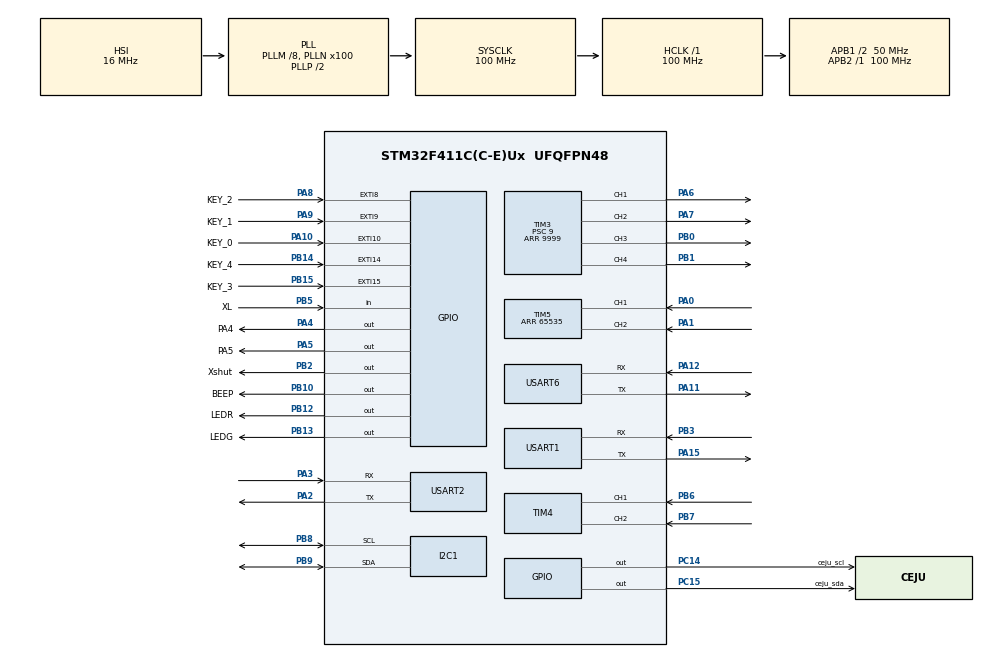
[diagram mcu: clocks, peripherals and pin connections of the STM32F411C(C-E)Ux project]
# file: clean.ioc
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Dma.Request0=USART2_RX
Dma.USART2_RX.0.Direction=DMA_PERIPH_TO_MEMORY
Dma.USART2_RX.0.FIFOMode=DMA_FIFOMODE_DISABLE
Dma.USART2_RX.0.Instance=DMA1_Stream5
Dma.USART2_RX.0.MemDataAlignment=DMA_MDATAALIGN_BYTE
Dma.USART2_RX.0.MemInc=DMA_MINC_ENABLE
Dma.USART2_RX.0.Mode=DMA_NORMAL
Dma.USART2_RX.0.PeriphDataAlignment=DMA_PDATAALIGN_BYTE
Dma.USART2_RX.0.PeriphInc=DMA_PINC_DISABLE
Dma.USART2_RX.0.Priority=DMA_PRIORITY_LOW
Mcu.Family=STM32F4
Mcu.Name=STM32F411C(C-E)Ux
Mcu.Package=UFQFPN48
NVIC.DMA1_Stream5_IRQn=true\:0\:0\:false\:false\:true\:false\:true\:true
NVIC.EXTI15_10_IRQn=true\:1\:0\:true\:false\:true\:true\:true\:true
NVIC.EXTI9_5_IRQn=true\:1\:0\:true\:false\:true\:true\:true\:true
NVIC.PriorityGroup=NVIC_PRIORITYGROUP_4
NVIC.TIM1_BRK_TIM9_IRQn=true\:0\:0\:false\:false\:true\:true\:true\:true
NVIC.TIM2_IRQn=true\:0\:0\:false\:false\:true\:true\:true\:true
NVIC.USART1_IRQn=true\:0\:0\:false\:false\:true\:true\:true\:true
NVIC.USART2_IRQn=true\:0\:0\:false\:false\:true\:true\:true\:true
NVIC.USART6_IRQn=true\:0\:0\:false\:false\:true\:true\:true\:true
PA0-WKUP.Signal=S_TIM5_CH1
PA1.Signal=S_TIM5_CH2
PA10.GPIO_Label=KEY_0
PA10.GPIO_PuPd=GPIO_PULLDOWN
PA10.Signal=GPXTI10
PA11.Mode=Asynchronous
PA11.Signal=USART6_TX
PA12.Mode=Asynchronous
PA12.Signal=USART6_RX
PA13.Mode=Serial_Wire
PA13.Signal=SYS_JTMS-SWDIO
PA14.Mode=Serial_Wire
PA14.Signal=SYS_JTCK-SWCLK
PA15.Mode=Asynchronous
PA15.Signal=USART1_TX
PA2.Mode=Asynchronous
PA2.Signal=USART2_TX
PA3.Mode=Asynchronous
PA3.Signal=USART2_RX
PA4.GPIO_Label=PA4
PA4.Signal=GPIO_Output
PA5.GPIO_Label=PA5
PA5.Signal=GPIO_Output
PA6.Signal=S_TIM3_CH1
PA7.Signal=S_TIM3_CH2
PA8.GPIO_Label=KEY_2
PA8.GPIO_PuPd=GPIO_PULLDOWN
PA8.Signal=GPXTI8
PA9.GPIO_Label=KEY_1
PA9.GPIO_PuPd=GPIO_PULLDOWN
PA9.Signal=GPXTI9
PB0.Signal=S_TIM3_CH3
PB1.Signal=S_TIM3_CH4
PB10.GPIO_Label=BEEP
PB10.Signal=GPIO_Output
PB12.GPIO_Label=LEDR
PB12.GPIO_PuPd=GPIO_PULLUP
PB12.Signal=GPIO_Output
PB13.GPIO_Label=LEDG
PB13.GPIO_PuPd=GPIO_PULLUP
PB13.Signal=GPIO_Output
PB14.GPIO_Label=KEY_4
PB14.GPIO_PuPd=GPIO_PULLDOWN
PB14.Signal=GPXTI14
PB15.GPIO_Label=KEY_3
PB15.GPIO_PuPd=GPIO_PULLDOWN
PB15.Signal=GPXTI15
PB2.GPIO_Label=Xshut
PB2.GPIO_PuPd=GPIO_PULLUP
PB2.Signal=GPIO_Output
PB3.Mode=Asynchronous
PB3.Signal=USART1_RX
PB5.GPIO_Label=XL
PB5.GPIO_PuPd=GPIO_PULLDOWN
PB5.Signal=GPIO_Input
PB6.Signal=S_TIM4_CH1
PB7.Signal=S_TIM4_CH2
PB8.Mode=I2C
PB8.Signal=I2C1_SCL
PB9.Mode=I2C
PB9.Signal=I2C1_SDA
PC14-OSC32_IN.GPIO_Label=ceju_scl
PC14-OSC32_IN.Signal=GPIO_Output
PC15-OSC32_OUT.GPIO_Label=ceju_sda
PC15-OSC32_OUT.Signal=GPIO_Output
PH0\ -\ OSC_IN.Mode=HSE-External-Oscillator
PH0\ -\ OSC_IN.Signal=RCC_OSC_IN
PH1\ -\ OSC_OUT.Mode=HSE-External-Oscillator
PH1\ -\ OSC_OUT.Signal=RCC_OSC_OUT
ProjectManager.HeapSize=0x200
ProjectManager.StackSize=0x400
ProjectManager.TargetToolchain=MDK-ARM V5.32
RCC.48MHZClocksFreq_Value=50000000
RCC.AHBFreq_Value=100000000
RCC.APB1CLKDivider=RCC_HCLK_DIV2
RCC.APB1Freq_Value=50000000
RCC.APB1TimFreq_Value=100000000
RCC.APB2Freq_Value=100000000
RCC.APB2TimFreq_Value=100000000
RCC.CortexFreq_Value=100000000
RCC.HCLKFreq_Value=100000000
RCC.HSE_VALUE=25000000
RCC.HSI_VALUE=16000000
RCC.LSE_VALUE=32768
RCC.PLLM=8
RCC.PLLN=100
RCC.SYSCLKFreq_VALUE=100000000
RCC.SYSCLKSource=RCC_SYSCLKSOURCE_PLLCLK
RCC.VCOOutputFreq_Value=200000000
SH.S_TIM3_CH1.0=TIM3_CH1,PWM Generation1 CH1
SH.S_TIM3_CH2.0=TIM3_CH2,PWM Generation2 CH2
SH.S_TIM3_CH3.0=TIM3_CH3,PWM Generation3 CH3
SH.S_TIM3_CH4.0=TIM3_CH4,PWM Generation4 CH4
SH.S_TIM4_CH1.0=TIM4_CH1,Encoder_Interface
SH.S_TIM4_CH2.0=TIM4_CH2,Encoder_Interface
SH.S_TIM5_CH1.0=TIM5_CH1,Encoder_Interface
SH.S_TIM5_CH2.0=TIM5_CH2,Encoder_Interface
TIM2.Period=9999
TIM2.Prescaler=9
TIM3.AutoReloadPreload=TIM_AUTORELOAD_PRELOAD_ENABLE
TIM3.Channel-PWM\ Generation1\ CH1=TIM_CHANNEL_1
TIM3.Channel-PWM\ Generation2\ CH2=TIM_CHANNEL_2
TIM3.Channel-PWM\ Generation3\ CH3=TIM_CHANNEL_3
TIM3.Channel-PWM\ Generation4\ CH4=TIM_CHANNEL_4
TIM3.Period=9999
TIM3.Prescaler=9
TIM3.Pulse-PWM\ Generation1\ CH1=10000
TIM3.Pulse-PWM\ Generation2\ CH2=0
TIM3.Pulse-PWM\ Generation3\ CH3=10000
TIM3.Pulse-PWM\ Generation4\ CH4=10000
TIM4.EncoderMode=TIM_ENCODERMODE_TI12
TIM5.EncoderMode=TIM_ENCODERMODE_TI12
TIM5.Period=65535
TIM9.Period=9999
TIM9.Prescaler=9
USART1.VirtualMode=VM_ASYNC
USART2.VirtualMode=VM_ASYNC
USART6.VirtualMode=VM_ASYNC
VP_TIM2_VS_ClockSourceINT.Mode=Internal
VP_TIM3_VS_ClockSourceINT.Mode=Internal
VP_TIM9_VS_ClockSourceINT.Mode=Internal
board=custom

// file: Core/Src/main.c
/* USER CODE BEGIN Header */
/**
  ******************************************************************************
  * @file           : main.c
  * @brief          : Main program body
  ******************************************************************************
  * @attention
  *
  * Copyright (c) 2025 STMicroelectronics.
  * All rights reserved.
  *
  * This software is licensed under terms that can be found in the LICENSE file
  * in the root directory of this software component.
  * If no LICENSE file comes with this software, it is provided AS-IS.
  *
  ******************************************************************************
  */
/* USER CODE END Header */
#include "main.h"
#include "dma.h"
#include "i2c.h"
#include "tim.h"
#include "usart.h"
#include "gpio.h"

/* USER CODE BEGIN Includes */
#include "debug.h"
#include "Imu.h"
#include "key.h"
#include "pid.h"
#include "OLED.h"
#include "Buzzer.h"
#include "usart_2.h"
#include "math.h"
#include "app.h"
#include "pwm.h"
#include "GWKJ.h"
#include "encoder.h"
/* USER CODE END Includes */

/* USER CODE BEGIN PTD */
float Kp = 0.7;  // 比例增益
float Kd = 0.8;  // 微分增益
char RxBuffer[200],Rxcouter;
uint8_t Res;
int Usart1_Rx_Flag=0;
int Flag_ly=0;
int stop=0;
char target;

static uint8_t last_state_BZ2 = 1;  // 假设初始状态为高电平
static uint8_t last_state_BZ3 = 1;
static uint8_t last_state_BZ1 = 1;

/* USER CODE END PTD */

void SystemClock_Config(void);

/* USER CODE BEGIN 0 */
void HAL_UART_RxCpltCallback(UART_HandleTypeDef *huart)

{
    if(huart->Instance == USART1)
    {
        UART1_RxCpltCallback(huart);
    }
		else if(huart->Instance == USART6)
		{
			RxBuffer[Rxcouter++] = Res;
			HAL_UART_Receive_IT(&huart6, (uint8_t *)&Res, 1);
			Usart1_Rx_Flag=1;
			if(Res=='1')
			{
				Flag_ly=1;
				stop=0;
			}
			else if(Res=='2')
			{
				Flag_ly=2;
				stop=0;
			}
		}

}
/* USER CODE END 0 */

int main(void)
{

  /* MCU Configuration--------------------------------------------------------*/

  /* Reset of all peripherals, Initializes the Flash interface and the Systick. */
  HAL_Init();

  /* Configure the system clock */
  SystemClock_Config();

  /* Initialize all configured peripherals */
  MX_GPIO_Init();
  MX_DMA_Init();
  MX_USART1_UART_Init();
  MX_USART2_UART_Init();
  MX_USART6_UART_Init();
  MX_TIM3_Init();
  MX_I2C1_Init();
  MX_TIM4_Init();
  MX_TIM5_Init();
  MX_TIM2_Init();
  MX_TIM9_Init();
  /* USER CODE BEGIN 2 */
	HAL_TIM_PWM_Start(&htim3,TIM_CHANNEL_1);
	HAL_TIM_PWM_Start(&htim3,TIM_CHANNEL_2);
	HAL_TIM_PWM_Start(&htim3,TIM_CHANNEL_3);
	HAL_TIM_PWM_Start(&htim3,TIM_CHANNEL_4);
	HAL_TIM_Encoder_Start(&htim4,TIM_CHANNEL_ALL);
	HAL_TIM_Encoder_Start(&htim5,TIM_CHANNEL_ALL);
	USART2_Init();
	__HAL_UART_ENABLE_IT(&huart6,UART_IT_RXNE);
  //开启 USART1 的连续接收中断，并指定接收缓冲区的地址和长度
  HAL_UART_Receive_IT(&huart6,&Res,1);
//	HAL_TIM_Base_Start_IT(&htim2);

//	Debug_Init();	//白色是高电平，为1，黑色是低电平，为2
	extern int Flag;

	extern int IMU_flag;
	extern float Yaw;
	extern float Gyro;
	extern int turn;
	int turn1;
	int turn2;
	extern int startflag;
	float Yaw_Init;
	int stopflag=0;
	int findflag=1;
	uint8_t Uart_RxBuffer;
	float L_raw;
	int crossflag=0;
	extern uint16_t find[10];
	extern uint8_t RxBuffer_2[RXBUFFERSIZE_2];
	extern uint8_t Uart_RxBuffer_2;
	extern float encoder_left;
	extern float encoder_right;
	int sendflag=0;
//	HAL_TIM_Base_Start_IT(&htim3);
	GW_digital_Init();
	OLED_Init();//OLED初始化
//	GW_analog_Init();
	IMU_Init();
	Yaw_Init=Yaw;
	USART2_Init();
	Set_PWM(0,0);
	uint8_t BIT[8]={0,0,0,0,0,0,0,0};

//	HAL_UART_Receive_IT(&huart6,&Res,1);

//	uint8_t Problem_Flag = 0;
//	uint8_t Calibration_Flag;
//	DEBUG_info("Main Init",":over");
  /* USER CODE END 2 */

  /* Infinite loop */
  /* USER CODE BEGIN WHILE */
  while (1)
  {

		OLED_Update();
		OLED_Printf(0, 16, OLED_8X16, "ly:%d",Flag_ly);
		ReadSensors(BIT);
		OLED_Printf(0, 0, OLED_8X16, "gw:%d,%d,%d,%d,%d,%d,%d,%d",BIT[0],BIT[1],BIT[2],BIT[3],BIT[4],BIT[5],BIT[6],BIT[7]);
		OLED_Update();
		int offset = CalculateOffset(BIT);
		float pid_output = ComputePID(offset);

		HAL_GPIO_WritePin(GPIOB, GPIO_PIN_12, GPIO_PIN_SET);
		HAL_GPIO_WritePin(GPIOB, GPIO_PIN_13, GPIO_PIN_SET);
		if(HAL_GPIO_ReadPin(GPIOB,XL_Pin)==1)
		{
			startflag=1;
			OLED_Printf(0, 32, OLED_8X16, "Medicine ready");
		}
		else
		{
			stopflag=1;
			OLED_Printf(0, 32, OLED_8X16, "NO Medicine");
		}

		while(Flag==1&&startflag==1)//基础1
		{
			OLED_Update();
			for(int i=0;i<2;i++)
			{
				UART1_SendChar('b');
			}
			problem1();

		}
		while(Flag==2&&startflag==1)//基础2
		{
			OLED_Update();
			if(sendflag==0)
			{
				for(int i=0;i<2;i++)
				{
					UART1_SendChar('b');
				}
				sendflag=1;
			}

			problem2();
		}
		while(Flag==3&&startflag==1)//基础3
		{
			OLED_Update();
			if(sendflag==0)
			{
				for(int i=0;i<2;i++)
				{
					UART1_SendChar('b');
				}
				sendflag=1;
			}
			problem3();
		}
		if(Flag==4&&startflag==1)//基础3
		{
			OLED_Update();
			if(sendflag==0)
			{
				for(int i=0;i<2;i++)
				{
					UART1_SendChar('b');
				}
				sendflag=1;
			}
			problem4();
		}

	}
    /* USER CODE END WHILE */

}

void SystemClock_Config(void)
{
  RCC_OscInitTypeDef RCC_OscInitStruct = {0};
  RCC_ClkInitTypeDef RCC_ClkInitStruct = {0};

  /** Configure the main internal regulator output voltage
  */
  __HAL_RCC_PWR_CLK_ENABLE();
  __HAL_PWR_VOLTAGESCALING_CONFIG(PWR_REGULATOR_VOLTAGE_SCALE1);

  /** Initializes the RCC Oscillators according to the specified parameters
  * in the RCC_OscInitTypeDef structure.
  */
  RCC_OscInitStruct.OscillatorType = RCC_OSCILLATORTYPE_HSI;
  RCC_OscInitStruct.HSIState = RCC_HSI_ON;
  RCC_OscInitStruct.HSICalibrationValue = RCC_HSICALIBRATION_DEFAULT;
  RCC_OscInitStruct.PLL.PLLState = RCC_PLL_ON;
  RCC_OscInitStruct.PLL.PLLSource = RCC_PLLSOURCE_HSI;
  RCC_OscInitStruct.PLL.PLLM = 8;
  RCC_OscInitStruct.PLL.PLLN = 100;
  RCC_OscInitStruct.PLL.PLLP = RCC_PLLP_DIV2;
  RCC_OscInitStruct.PLL.PLLQ = 4;
  if (HAL_RCC_OscConfig(&RCC_OscInitStruct) != HAL_OK)
  {
    Error_Handler();
  }

  /** Initializes the CPU, AHB and APB buses clocks
  */
  RCC_ClkInitStruct.ClockType = RCC_CLOCKTYPE_HCLK|RCC_CLOCKTYPE_SYSCLK
                              |RCC_CLOCKTYPE_PCLK1|RCC_CLOCKTYPE_PCLK2;
  RCC_ClkInitStruct.SYSCLKSource = RCC_SYSCLKSOURCE_PLLCLK;
  RCC_ClkInitStruct.AHBCLKDivider = RCC_SYSCLK_DIV1;
  RCC_ClkInitStruct.APB1CLKDivider = RCC_HCLK_DIV2;
  RCC_ClkInitStruct.APB2CLKDivider = RCC_HCLK_DIV1;

  if (HAL_RCC_ClockConfig(&RCC_ClkInitStruct, FLASH_LATENCY_3) != HAL_OK)
  {
    Error_Handler();
  }
}

/* USER CODE BEGIN 4 */
float prev_error_left = 0.0;
float prev_error_right = 0.0;
void PD_update(int target_left, int target_right,
               float actual_left, float actual_right,
               float dt,
               int *output_left, int *output_right) {

    // 计算左右电机的误差
    float error_left = target_left - actual_left;
    float error_right = target_right - actual_right;

    // 计算微分项
    float derivative_left = (error_left - prev_error_left) / dt;
    float derivative_right = (error_right - prev_error_right) / dt;

    // 计算 PD 控制输出
    *output_left = Kp * error_left + Kd * derivative_left;
    *output_right = Kp * error_right + Kd * derivative_right;

    // 保存当前误差，供下次计算微分项使用
    prev_error_left = error_left;
    prev_error_right = error_right;
}
/* USER CODE END 4 */

void Error_Handler(void)
{
  __disable_irq();
  while (1)
  {
  }
}
